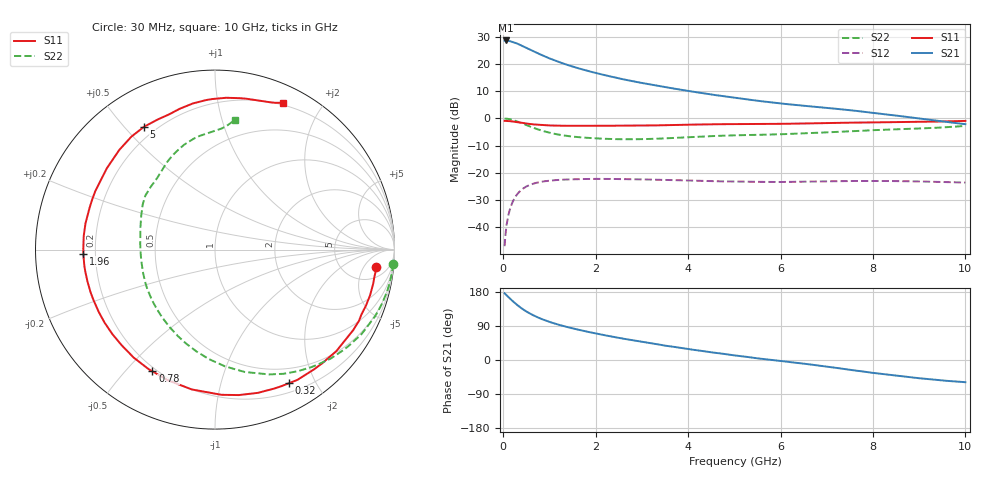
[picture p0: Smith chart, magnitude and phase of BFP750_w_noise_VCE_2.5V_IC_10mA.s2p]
! Infineon Technologies  Discrete & RF Semiconductors
! BFP750
! VCE =  2.5 V,  IC =  10 mA
! Common Emitter S-Parameters:  Jan 2016
# GHz  S  MA  R  50
!  f  S11  S21  S12  S22
! GHz  MAG  ANG  MAG  ANG  MAG  ANG  MAG  ANG
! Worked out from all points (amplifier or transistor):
!   229 points, 30 MHz to 10 GHz, reference 50 ohm
!   highest |S21| = 28.7 dB at 50 MHz (marker M1)
!   |S21| within 3 dB of that: start of sweep to 536.8 MHz
!   unconditionally stable (mu >= 1): 5.209 GHz to end of sweep
!   at 280 MHz: K = 0.07, MSG = 28.0 dB, |S12| = -28.4 dB
!   at 1.78 GHz: K = 0.36, MSG = 20.0 dB, |S12| = -22.2 dB
!   at 10 GHz: K = 1.15, MAG = 8.4 dB, |S12| = -23.6 dB
!   lowest NFmin = 0.64 dB at 450 MHz
!   S11 on the Smith chart (normalised r, x): 30 MHz: 10, -10; 320 MHz: 0.31, -1.66; 780 MHz: 0.18, -0.60; 1.96 GHz: 0.15, -0.01; 5 GHz: 0.16, +0.57; 10 GHz: 0.18, +1.55
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0.03  0.9041 -6.0  26.96 176.2  0.0045 86.0  0.9956 -4.6
0.05  0.9009 -10.1  27.13 173.2  0.0075 83.1  0.9944 -7.6
0.12  0.8923 -24.1  26.57 165.2  0.0179 76.7  0.9775 -18.2
0.2  0.8815 -39.9  25.55 155.9  0.0288 68.3  0.9426 -29.9
0.32  0.8512 -60.9  23.42 143.6  0.0422 57.2  0.871 -45.8
0.4  0.833 -73.4  21.86 136.0  0.0493 50.7  0.8206 -55.6
0.5  0.8099 -87.4  19.91 128.0  0.0562 43.7  0.7585 -66.5
0.6  0.7898 -99.4  18.08 120.9  0.0613 37.8  0.702 -76.3
0.78  0.7626 -117.2  15.32 110.7  0.0675 29.4  0.6186 -91.4
1  0.7446 -134.3  12.7 100.5  0.072 21.8  0.548 -107.0
1.2  0.7376 -146.5  10.94 93.0  0.0743 16.4  0.5051 -118.9
1.42  0.733 -157.4  9.447 85.9  0.0759 11.7  0.4733 -130.0
1.7  0.7329 -169.1  8.02 77.9  0.077 6.8  0.4479 -142.2
1.96  0.7336 -178.3  6.995 71.1  0.0775 3.0  0.4331 -152.1
2.6  0.7363 163.4  5.232 56.2  0.0768 -4.6  0.415 -173.0
3.4  0.7494 145.2  3.903 40.2  0.0747 -11.4  0.4269 167.1
4  0.77 133.8  3.205 28.7  0.0724 -15.4  0.4519 155.5
5  0.7903 120.1  2.408 12.2  0.0692 -19.1  0.4909 142.3
5.1  0.7899 118.9  2.347 10.8  0.069 -19.4  0.4923 141.0
6.8  0.8167 100.8  1.623 -14.2  0.0696 -23.8  0.546 120.6
8.4  0.855 80.7  1.156 -39.8  0.0708 -32.3  0.6295 100.8
10  0.9014 65.1  0.786 -58.6  0.0664 -39.3  0.7294 81.4
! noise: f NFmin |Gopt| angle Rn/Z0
0.45  0.64  0.24  2  0.09
0.9  0.66  0.21  16  0.02
1.5  0.68  0.13  78  0.06
1.9  0.71  0.12  115  0.08
2.4  0.78  0.17  153  0.08
3.5  1.07  0.24  -166  0.05
